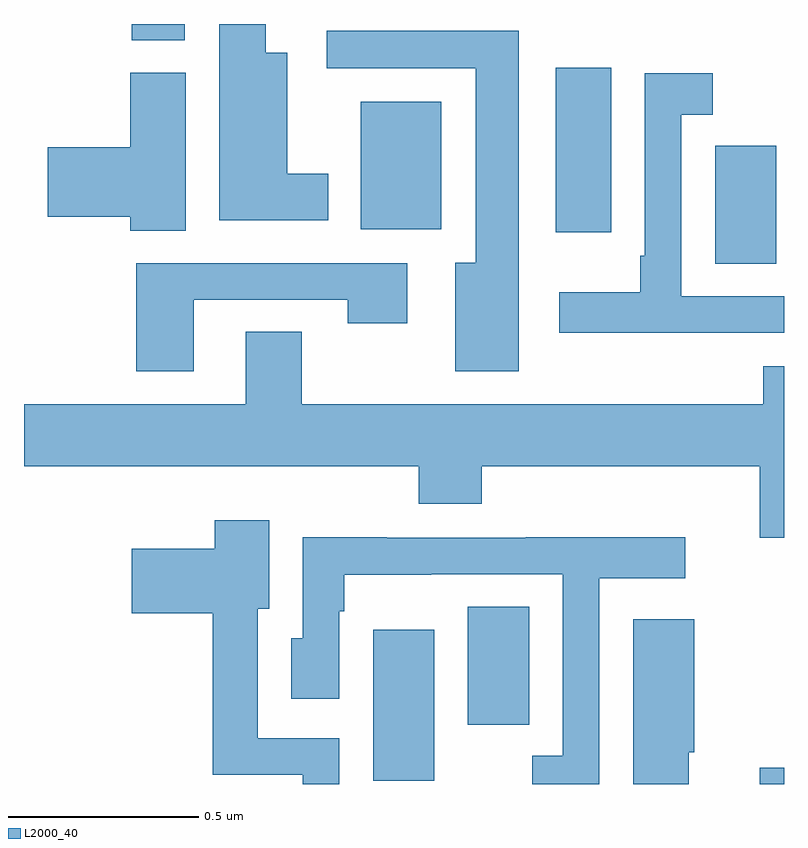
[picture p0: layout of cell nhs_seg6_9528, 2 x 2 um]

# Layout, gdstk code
import gdstk
lib = gdstk.Library(unit=1e-6, precision=1e-09)
def R(c, l, rs):  # rectangles x0, y0, x1, y1
    for r in rs: c.add(gdstk.rectangle(r[:2], r[2:], *l))
def P(c, l, *ps):  # polygons
    for p in ps: c.add(gdstk.Polygon(p, *l))
L2000_40 = (2000, 40)

nhs_seg6_9528 = lib.new_cell('nhs_seg6_9528')
R(nhs_seg6_9528, L2000_40, [(236.936,946.5,237,946.543), (235.919,946.508,236.08,946.906), (236.168,946.656,236.329,946.967), (236.819,947.869,236.98,948.18), (236.399,947.952,236.545,948.385), (235.886,947.96,236.098,948.295), (235.283,948.457,235.423,948.5)])
P(nhs_seg6_9528, L2000_40, [(235.801,948.106),(235.693,948.106),(235.693,948.424),(235.636,948.424),(235.636,948.5),(235.514,948.5),(235.514,947.984),(235.801,947.984)],
  [(236.302,948.482),(235.797,948.482),(235.797,948.384),(236.189,948.384),(236.189,947.872),(236.135,947.872),(236.135,947.586),(236.302,947.586)],
  [(235.426,948.372),(235.28,948.372),(235.28,948.176),(235.062,948.176),(235.062,947.993),(235.28,947.993),(235.28,947.956),(235.426,947.956)],
  [(236.827,947.688),(237,947.688),(237,947.784),(236.73,947.784),(236.73,948.261),(236.812,948.261),(236.812,948.37),(236.634,948.37),(236.634,947.89),(236.622,947.89),(236.622,947.794),(236.409,947.794),(236.409,947.687),(236.827,947.687)],
  [(235.447,947.775),(235.852,947.775),(235.852,947.712),(236.008,947.712),(236.008,947.871),(235.295,947.871),(235.295,947.586),(235.447,947.586)],
  [(237,947.599),(236.945,947.599),(236.945,947.5),(235.731,947.5),(235.731,947.69),(235.583,947.69),(235.583,947.5),(235,947.5),(235,947.336),(236.039,947.336),(236.039,947.237),(236.204,947.237),(236.204,947.336),(236.936,947.336),(236.936,947.148),(237,947.148)],
  [(235.83,946.62),(235.615,946.62),(235.615,946.961),(235.645,946.961),(235.645,947.194),(235.502,947.194),(235.502,947.119),(235.284,947.119),(235.284,946.949),(235.497,946.949),(235.497,946.524),(235.734,946.524),(235.734,946.5),(235.83,946.5)],
  [(236.514,947.042),(236.74,947.042),(236.74,947.15),(236.321,947.15),(236.321,947.148),(235.955,947.148),(235.955,947.15),(235.734,947.15),(235.734,946.884),(235.703,946.884),(235.703,946.725),(235.83,946.725),(235.83,946.955),(235.843,946.955),(235.843,947.051),(236.072,947.051),(236.072,947.052),(236.418,947.052),(236.418,946.575),(236.337,946.575),(236.337,946.5),(236.514,946.5)],
  [(236.749,946.584),(236.764,946.584),(236.764,946.933),(236.603,946.933),(236.603,946.5),(236.749,946.5)])

lib.write_gds('nhs_seg6_9528.gds')
